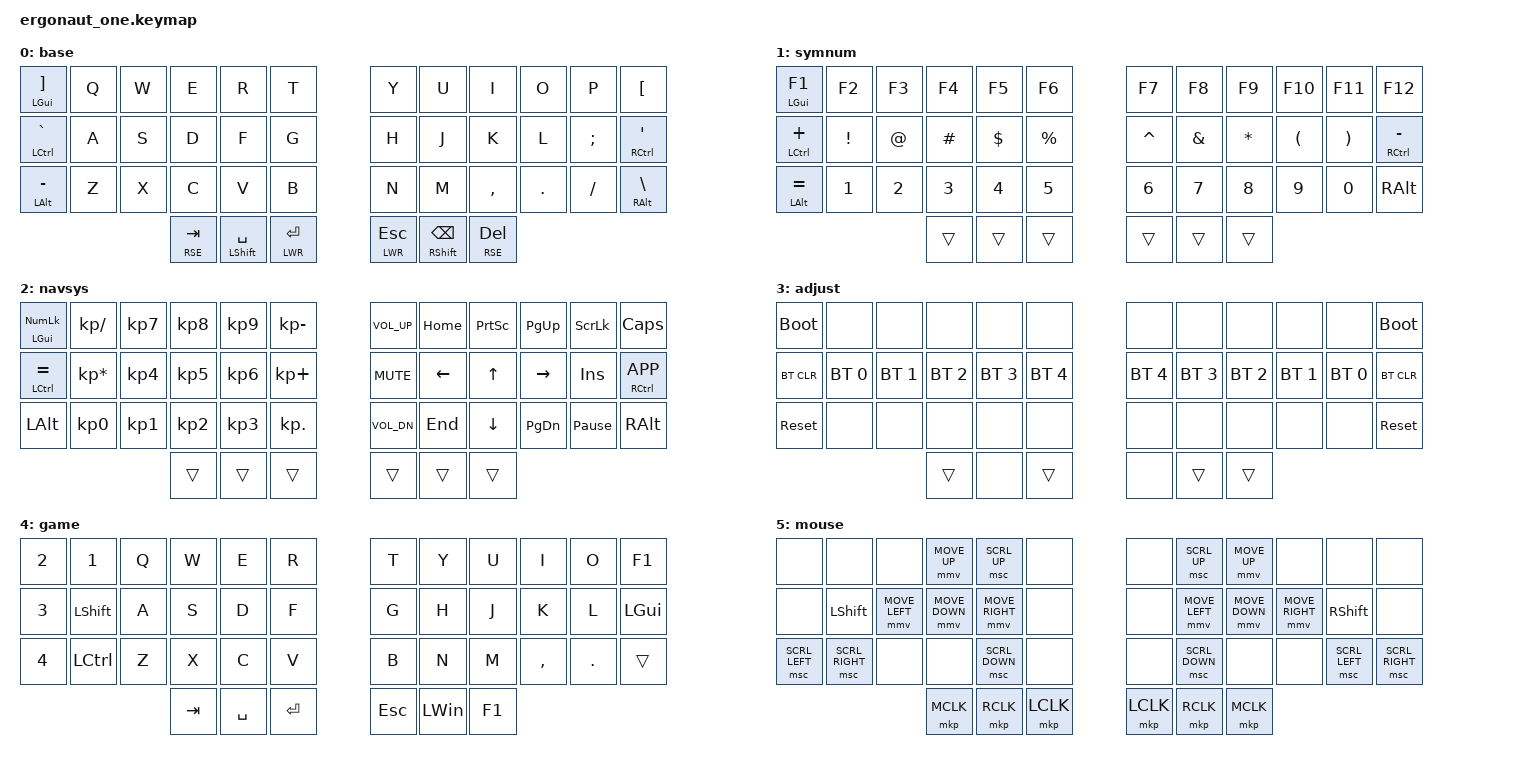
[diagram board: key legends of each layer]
#define ZMK_POINTING_DEFAULT_MOVE_VAL 1200
#define ZMK_POINTING_DEFAULT_SCRL_VAL 40

#include <behaviors.dtsi>
#include <dt-bindings/zmk/bt.h>
#include <dt-bindings/zmk/keys.h>
#include <dt-bindings/zmk/pointing.h>

#define DEF 0
#define LWR 1
#define RSE 2
#define ADJ 3
#define GAME 4
#define MOUSE 5

&lt {
    tapping-term-ms = <130>;
    quick-tap-ms = <200>;
};

&mt { quick-tap-ms = <200>; };

&mmv {
    time-to-max-speed-ms = <1000>;
    acceleration-exponent = <2>;
};

&msc {
    time-to-max-speed-ms = <300>;
    acceleration-exponent = <0>;
};

/ {
    conditional_layers {
        compatible = "zmk,conditional-layers";

        tri-layer {
            if-layers = <LWR RSE>;
            then-layer = <ADJ>;
        };
    };

    combos {
        compatible = "zmk,combos";

        game_switch {
            bindings = <&tog GAME>;
            key-positions = <28 26>;
            layers = <DEF GAME>;
        };

        mouse_switch {
            bindings = <&tog MOUSE>;
            key-positions = <31 33>;
            layers = <DEF MOUSE>;
        };
    };

    keymap {
        compatible = "zmk,keymap";

        base {
            display-name = "base";
            bindings = <
&mt LGUI RBKT    &kp Q  &kp W  &kp E        &kp R            &kp T        &kp Y        &kp U           &kp I        &kp O    &kp P     &kp LBKT
&mt LCTRL GRAVE  &kp A  &kp S  &kp D        &kp F            &kp G        &kp H        &kp J           &kp K        &kp L    &kp SEMI  &mt RCTRL SQT
&mt LALT MINUS   &kp Z  &kp X  &kp C        &kp V            &kp B        &kp N        &kp M           &kp COMMA    &kp DOT  &kp FSLH  &mt RALT BSLH
                               &lt RSE TAB  &mt LSHFT SPACE  &lt LWR RET  &lt LWR ESC  &mt RSHFT BSPC  &lt RSE DEL
            >;
        };

        symnum {
            display-name = "symnum";
            bindings = <
&mt LGUI F1     &kp F2    &kp F3  &kp F4    &kp F5    &kp F6     &kp F7     &kp F8    &kp F9    &kp F10   &kp F11   &kp F12
&mt LCTRL PLUS  &kp EXCL  &kp AT  &kp HASH  &kp DLLR  &kp PRCNT  &kp CARET  &kp AMPS  &kp STAR  &kp LPAR  &kp RPAR  &mt RCTRL MINUS
&mt LALT EQUAL  &kp N1    &kp N2  &kp N3    &kp N4    &kp N5     &kp N6     &kp N7    &kp N8    &kp N9    &kp N0    &kp RALT
                                  &trans    &trans    &trans     &trans     &trans    &trans
            >;
        };

        navsys {
            display-name = "navsys";
            bindings = <
&mt LGUI KP_NUM  &kp KP_SLASH     &kp KP_N7  &kp KP_N8  &kp KP_N9  &kp KP_MINUS  &kp C_VOL_UP  &kp HOME  &kp PSCRN  &kp PG_UP  &kp SLCK         &kp CLCK
&mt LCTRL EQUAL  &kp KP_MULTIPLY  &kp KP_N4  &kp KP_N5  &kp KP_N6  &kp KP_PLUS   &kp C_MUTE    &kp LEFT  &kp UP     &kp RIGHT  &kp INS          &mt RCTRL K_APP
&kp LALT         &kp KP_N0        &kp KP_N1  &kp KP_N2  &kp KP_N3  &kp KP_DOT    &kp C_VOL_DN  &kp END   &kp DOWN   &kp PG_DN  &kp PAUSE_BREAK  &kp RALT
                                             &trans     &trans     &trans        &trans        &trans    &trans
            >;
        };

        adjust {
            display-name = "adjust";
            bindings = <
&bootloader  &none         &none         &none         &none         &none         &none         &none         &none         &none         &none         &bootloader
&bt BT_CLR   &bt BT_SEL 0  &bt BT_SEL 1  &bt BT_SEL 2  &bt BT_SEL 3  &bt BT_SEL 4  &bt BT_SEL 4  &bt BT_SEL 3  &bt BT_SEL 2  &bt BT_SEL 1  &bt BT_SEL 0  &bt BT_CLR
&sys_reset   &none         &none         &none         &none         &none         &none         &none         &none         &none         &none         &sys_reset
                                         &trans        &none         &trans        &none         &trans        &trans
            >;
        };

        game {
            display-name = "game";
            bindings = <
&kp N2  &kp N1     &kp Q  &kp W    &kp E      &kp R      &kp T    &kp Y     &kp U   &kp I      &kp O    &kp F1
&kp N3  &kp LSHFT  &kp A  &kp S    &kp D      &kp F      &kp G    &kp H     &kp J   &kp K      &kp L    &kp LGUI
&kp N4  &kp LCTRL  &kp Z  &kp X    &kp C      &kp V      &kp B    &kp N     &kp M   &kp COMMA  &kp DOT  &trans
                          &kp TAB  &kp SPACE  &kp ENTER  &kp ESC  &kp LWIN  &kp F1
            >;
        };

        mouse {
            display-name = "mouse";
            bindings = <
&none           &none            &none           &mmv MOVE_UP    &msc SCRL_UP     &none      &none      &msc SCRL_UP    &mmv MOVE_UP    &none            &none            &none
&none           &kp LEFT_SHIFT   &mmv MOVE_LEFT  &mmv MOVE_DOWN  &mmv MOVE_RIGHT  &none      &none      &mmv MOVE_LEFT  &mmv MOVE_DOWN  &mmv MOVE_RIGHT  &kp RIGHT_SHIFT  &none
&msc SCRL_LEFT  &msc SCRL_RIGHT  &none           &none           &msc SCRL_DOWN   &none      &none      &msc SCRL_DOWN  &none           &none            &msc SCRL_LEFT   &msc SCRL_RIGHT
                                                 &mkp MCLK       &mkp RCLK        &mkp LCLK  &mkp LCLK  &mkp RCLK       &mkp MCLK
            >;
        };
    };
};
